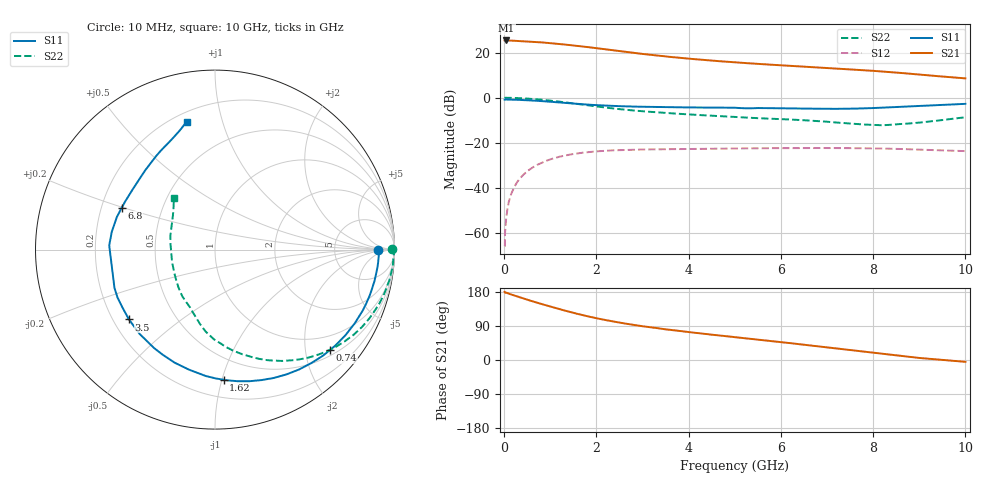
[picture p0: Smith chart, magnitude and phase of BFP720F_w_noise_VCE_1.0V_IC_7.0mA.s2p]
! Infineon Technologies  Discrete & RF Semiconductors
! BFP720F
! VCE =  1.0 V,  IC =  7.0 mA
! Common Emitter S-Parameters:  Jan 2016
# GHz  S  MA  R  50
!  f  S11  S21  S12  S22
! GHz  MAG  ANG  MAG  ANG  MAG  ANG  MAG  ANG
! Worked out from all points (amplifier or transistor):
!   233 points, 10 MHz to 10 GHz, reference 50 ohm
!   highest |S21| = 25.5 dB at 50 MHz (marker M1)
!   |S21| within 3 dB of that: start of sweep to 1.831 GHz
!   unconditionally stable (mu >= 1): start of sweep to 11.26 MHz; 7.559 GHz to end of sweep
!   at 200 MHz: K = 0.04, MSG = 32.9 dB, |S12| = -40.5 dB
!   at 1.74 GHz: K = 0.25, MSG = 23.5 dB, |S12| = -24.4 dB
!   at 10 GHz: K = 1.29, MAG = 13.0 dB, |S12| = -23.7 dB
!   lowest NFmin = 0.48 dB at 450 MHz
!   S11 on the Smith chart (normalised r, x): 10 MHz: 20, -1; 740 MHz: 0.63, -2.54; 1.62 GHz: 0.33, -1.01; 3.5 GHz: 0.26, -0.33; 6.8 GHz: 0.29, +0.20; 10 GHz: 0.25, +0.77
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0.01  0.907 -0.2  18.73 179.7  0.0005 -24.0  0.9834 0.3
0.015  0.9106 -0.7  18.64 178.7  0.0005 61.1  0.9904 -0.6
0.02  0.9142 -1.1  18.55 177.7  0.001 91.0  0.9976 -1.4
0.05  0.913 -2.9  18.78 177.5  0.0023 88.5  0.9954 -2.0
0.16  0.9073 -9.0  18.61 172.5  0.0076 84.8  0.9925 -6.4
0.4  0.8905 -22.4  18.04 162.9  0.0186 76.6  0.9696 -16.1
0.74  0.8508 -41.0  17.16 150.3  0.033 65.4  0.9178 -29.2
0.98  0.8178 -53.9  16.45 141.7  0.0419 57.9  0.868 -38.1
1.2  0.7866 -65.4  15.67 134.2  0.0487 51.6  0.8179 -45.9
1.62  0.727 -86.2  14.15 120.8  0.0585 40.7  0.7188 -59.6
1.68  0.7193 -89.0  13.91 119.0  0.0595 39.3  0.7046 -61.5
2.02  0.6824 -102.9  12.57 109.7  0.0644 32.1  0.6351 -70.8
2.48  0.6502 -118.3  10.92 99.2  0.0683 24.2  0.5607 -81.4
2.9  0.6322 -129.4  9.679 90.9  0.0701 18.9  0.5099 -88.9
3.4  0.6188 -139.1  8.494 82.7  0.0715 13.8  0.467 -95.3
3.5  0.6175 -140.9  8.281 80.9  0.0718 12.8  0.4592 -96.6
4.1  0.6072 -149.1  7.243 72.3  0.0729 8.2  0.4195 -101.8
5.1  0.5899 -163.6  6.027 59.0  0.0745 1.8  0.369 -109.8
6.8  0.5693 155.8  4.713 36.2  0.0761 -8.5  0.3017 -130.4
8.4  0.6146 122.5  3.694 13.5  0.0734 -18.4  0.2509 171.8
9  0.6571 111.9  3.274 5.4  0.07 -21.3  0.2798 148.9
10  0.7309 102.5  2.692 -4.9  0.065 -23.6  0.3684 128.4
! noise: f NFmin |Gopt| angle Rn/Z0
0.45  0.48  0.4  3  0.2
0.9  0.5  0.38  9  0.16
1.8  0.54  0.35  18  0.15
2.4  0.57  0.33  28  0.13
5.5  0.74  0.31  57  0.09
10  0.96  0.26  -100  0.16
